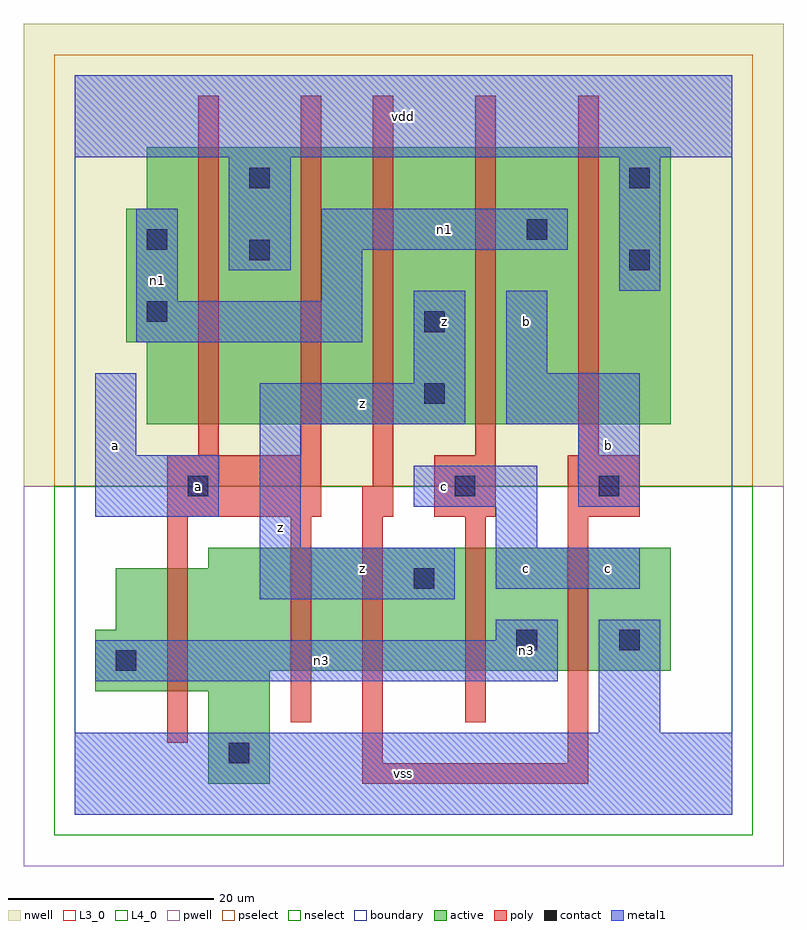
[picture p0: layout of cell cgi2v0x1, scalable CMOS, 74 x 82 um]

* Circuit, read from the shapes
.subckt cgi2v0x1 a b c n1 n3 vdd vss z
M1 vss a n3 VSUBS nfet w=12u l=2u
M2 n2 a vss VSUBS nfet w=12u l=2u
M3 z b n2 VSUBS nfet w=12u l=2u
M4 n3 c z VSUBS nfet w=12u l=2u
M5 vss b n3 VSUBS nfet w=12u l=2u
M6 vdd a n1 n4 pfet w=27u l=2u
M7 n5 a vdd n4 pfet w=27u l=2u
M8 z b n5 n4 pfet w=27u l=2u
M9 n1 c z n4 pfet w=27u l=2u
M10 vdd b n1 n4 pfet w=27u l=2u
.ends

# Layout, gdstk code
import gdstk
lib = gdstk.Library(unit=1e-6, precision=1e-09)
def R(c, l, rs):  # rectangles x0, y0, x1, y1
    for r in rs: c.add(gdstk.rectangle(r[:2], r[2:], *l))
L3_0 = (3, 0)
L4_0 = (4, 0)
contact = (25, 0)
pwell = (41, 0)
nwell = (42, 0)
active = (43, 0)
pselect = (44, 0)
nselect = (45, 0)
poly = (46, 0)
metal1 = (49, 0)
boundary = (63, 0)

cgi2v0x1 = lib.new_cell('cgi2v0x1')
R(cgi2v0x1, L3_0, [(13,3,19,12), (2,12,19,14), (2,14,58,18), (4,18,58,24), (13,24,58,26)])
R(cgi2v0x1, L4_0, [(7,38,58,46), (5,46,58,59), (7,59,58,65)])
R(cgi2v0x1, contact, [(15,5,17,7), (4,14,6,16), (43,16,45,18), (53,16,55,18), (33,22,35,24), (11,31,13,33), (37,31,39,33), (51,31,53,33), (34,40,36,42), (34,47,36,49), (7,48,9,50), (54,53,56,55), (17,54,19,56), (7,55,9,57), (44,56,46,58), (17,61,19,63), (54,61,56,63)])
R(cgi2v0x1, pwell, [(-5,-5,69,32)])
R(cgi2v0x1, nwell, [(-5,32,69,77)])
R(cgi2v0x1, active, [(13,3,19,12), (2,12,19,14), (2,14,58,18), (4,18,58,24), (13,24,58,26), (7,38,58,46), (5,46,58,59), (7,59,58,65)])
R(cgi2v0x1, pselect, [(-2,32,66,74)])
R(cgi2v0x1, nselect, [(-2,-2,66,32)])
R(cgi2v0x1, poly, [(28,3,50,5), (28,5,30,29), (48,5,50,29), (9,7,11,29), (21,9,23,29), (38,9,40,29), (9,29,24,35), (28,29,31,32), (35,29,41,35), (48,29,55,35), (29,32,31,70), (12,35,14,70), (22,35,24,70), (39,35,41,70), (49,35,51,70)])
R(cgi2v0x1, metal1, [(0,0,64,8), (51,8,57,19), (2,13,47,17), (41,17,47,19), (18,21,37,26), (41,22,55,26), (18,26,22,38), (41,26,45,30), (2,29,14,35), (33,30,45,34), (49,30,55,38), (2,35,6,43), (18,38,38,42), (42,38,55,43), (33,42,38,51), (42,43,46,51), (6,46,28,50), (6,50,10,59), (24,50,28,55), (53,51,57,64), (15,53,21,64), (24,55,48,59), (0,64,64,72)])
R(cgi2v0x1, boundary, [(0,0,64,72)])
cgi2v0x1.add(gdstk.Label('n1', (8,52), layer=49, texttype=0))
cgi2v0x1.add(gdstk.Label('n3', (24,15), layer=49, texttype=0))
cgi2v0x1.add(gdstk.Label('n3', (44,16), layer=49, texttype=0))
cgi2v0x1.add(gdstk.Label('n1', (36,57), layer=49, texttype=0))
cgi2v0x1.add(gdstk.Label('a', (12,32), layer=49, texttype=0))
cgi2v0x1.add(gdstk.Label('a', (4,36), layer=49, texttype=0))
cgi2v0x1.add(gdstk.Label('z', (28,24), layer=49, texttype=0))
cgi2v0x1.add(gdstk.Label('z', (20,28), layer=49, texttype=0))
cgi2v0x1.add(gdstk.Label('z', (28,40), layer=49, texttype=0))
cgi2v0x1.add(gdstk.Label('vss', (32,4), layer=49, texttype=0))
cgi2v0x1.add(gdstk.Label('c', (36,32), layer=49, texttype=0))
cgi2v0x1.add(gdstk.Label('c', (44,24), layer=49, texttype=0))
cgi2v0x1.add(gdstk.Label('z', (36,48), layer=49, texttype=0))
cgi2v0x1.add(gdstk.Label('b', (44,48), layer=49, texttype=0))
cgi2v0x1.add(gdstk.Label('vdd', (32,68), layer=49, texttype=0))
cgi2v0x1.add(gdstk.Label('c', (52,24), layer=49, texttype=0))
cgi2v0x1.add(gdstk.Label('b', (52,36), layer=49, texttype=0))

lib.write_gds('cgi2v0x1.gds')
